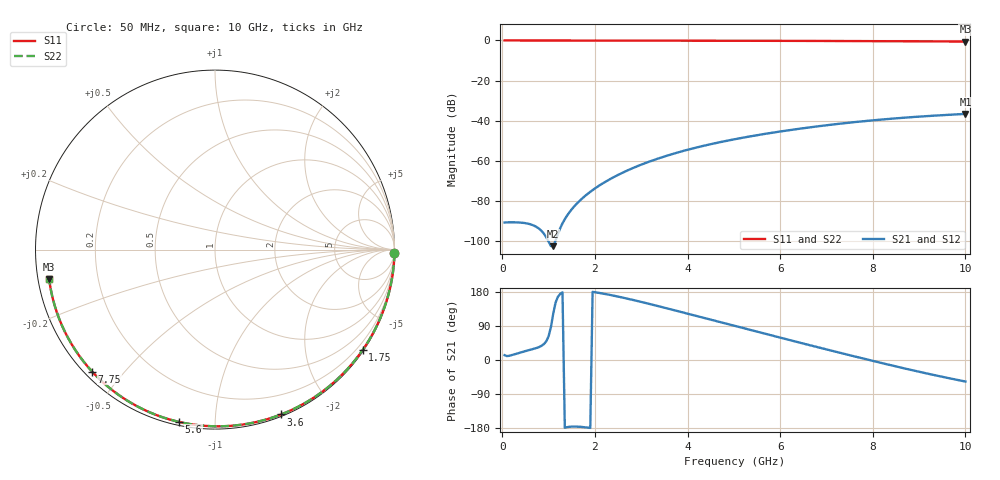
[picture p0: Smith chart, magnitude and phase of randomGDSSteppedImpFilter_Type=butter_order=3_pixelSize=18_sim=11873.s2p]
! freq	dB(S11)	phase(S11)	dB(S12)	phase(S12)
!  dB(S21)	phase(S21)	dB(S22)	phase(S22)
!S-par simulation data
#  GHz  S  DB  R 50
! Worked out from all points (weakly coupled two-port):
!   200 points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, 50 MHz to 10 GHz, reference 50 ohm
!   highest |S21| = -36.60 dB at 10 GHz (marker M1); lowest = -102.5 dB at 1.1 GHz (marker M2)
!   lowest |S11| = -0.5 dB at 10 GHz (marker M3), VSWR 31.62, Z = 1.59 - j4.45 ohm
!   |S11| at or under -10 dB: nowhere
!   |S22| runs from -0.5 to 0.0 dB; largest |S21 - S12| = 0
!   S11 on the Smith chart (normalised r, x): 50 MHz: open; 1.75 GHz: 0.03, -3.25; 3.6 GHz: 0.02, -1.48; 5.6 GHz: 0.02, -0.81; 7.75 GHz: 0.02, -0.41; 10 GHz: 0.03, -0.09
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0.05  -0.00 -1.0  -90.73 12.7  -90.73 12.7  -0.00 -1.0
0.55  -0.01 -10.9  -91.26 25.1  -91.26 25.1  -0.01 -10.9
1.1  -0.03 -21.7  -102.50 122.3  -102.50 122.3  -0.03 -21.7
1.65  -0.04 -32.3  -80.35 -176.0  -80.35 -176.0  -0.04 -32.3
1.7  -0.04 -33.2  -79.25 -176.5  -79.25 -176.5  -0.04 -33.2
1.75  -0.04 -34.2  -78.22 -177.0  -78.22 -177.0  -0.04 -34.2
1.9  -0.05 -37.0  -75.41 -179.2  -75.41 -179.2  -0.05 -37.0
2.05  -0.05 -39.9  -72.96 178.0  -72.96 178.0  -0.05 -39.9
2.25  -0.06 -43.6  -70.09 173.6  -70.09 173.6  -0.06 -43.6
2.45  -0.06 -47.3  -67.57 168.6  -67.57 168.6  -0.06 -47.3
2.9  -0.07 -55.6  -62.81 156.2  -62.81 156.2  -0.07 -55.6
3.4  -0.09 -64.6  -58.56 141.2  -58.56 141.2  -0.09 -64.6
3.6  -0.09 -68.2  -57.10 134.9  -57.10 134.9  -0.09 -68.2
4.3  -0.11 -80.3  -52.74 112.7  -52.74 112.7  -0.11 -80.3
5.05  -0.14 -92.8  -49.07 88.7  -49.07 88.7  -0.14 -92.8
5.6  -0.17 -101.8  -46.82 71.4  -46.82 71.4  -0.17 -101.8
6.15  -0.20 -110.5  -44.85 54.2  -44.85 54.2  -0.20 -110.5
6.7  -0.23 -119.1  -43.12 37.2  -43.12 37.2  -0.23 -119.1
7.75  -0.31 -135.2  -40.35 5.1  -40.35 5.1  -0.31 -135.2
8.35  -0.37 -144.3  -39.08 -12.6  -39.08 -12.6  -0.37 -144.3
9.2  -0.46 -157.3  -37.64 -36.5  -37.64 -36.5  -0.46 -157.3
10  -0.55 -169.8  -36.60 -56.8  -36.60 -56.8  -0.55 -169.8
